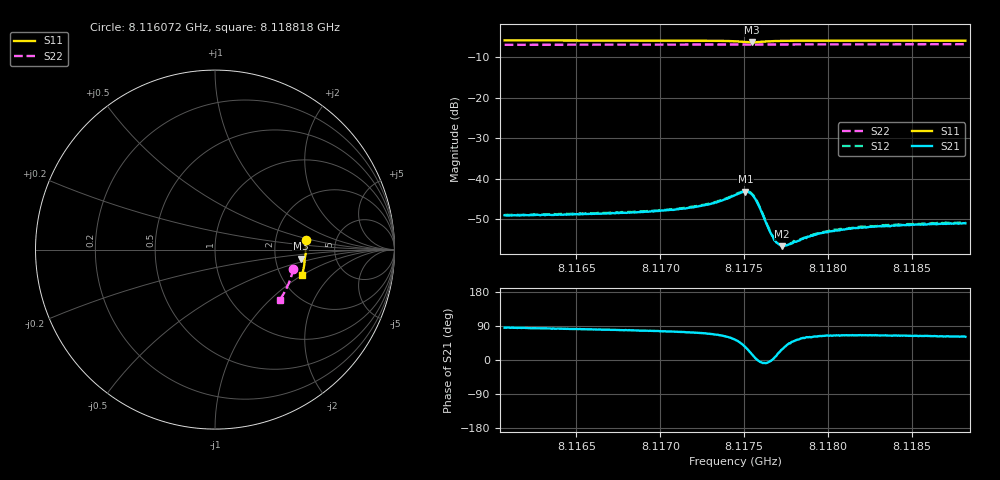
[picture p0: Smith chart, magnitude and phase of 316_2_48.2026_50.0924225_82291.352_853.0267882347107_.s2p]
#  HZ  S  RI  R  50.00
! Rohde & Schwarz Vector Network Analyzer
! Rohde-Schwarz,ZNB20-2Port,1311601062101988,3.16
! Created: UTC 3/20/2024, 11:50:11 AM
! freq[Hz]  re:S11  im:S11  re:S21  im:S21  re:S12  im:S12  re:S22  im:S22
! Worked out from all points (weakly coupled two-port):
!   401 points, 8.116072 GHz to 8.118818 GHz, reference 50 ohm
!   highest |S21| = -43.18 dB at 8.117507 GHz (marker M1); lowest = -56.7 dB at 8.117726 GHz (marker M2)
!   lowest |S11| = -6.4 dB at 8.117548 GHz (marker M3), VSWR 2.85, Z = 140 - j18.6 ohm
!   |S11| at or under -10 dB: nowhere
!   |S22| runs from -7.0 to -6.8 dB; largest |S21 - S12| = 0.00019
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8.1160719e9  0.5045 0.0528  0.000286 0.00353  0.00035 0.00355  0.4359 -0.1062
8.1165318e9  0.5064 0.0182  0.000562 0.0036  0.000639 0.00366  0.4283 -0.1373
8.1169917e9  0.5054 -0.0174  0.000935 0.00389  0.000992 0.00395  0.4187 -0.1681
8.1171427e9  0.5041 -0.0296  0.00119 0.00412  0.00125 0.00417  0.4152 -0.1776
8.1172731e9  0.502 -0.0412  0.00162 0.00449  0.00168 0.00452  0.4117 -0.1863
8.1173624e9  0.499 -0.0499  0.00226 0.00483  0.00236 0.00486  0.4093 -0.1921
8.1174447e9  0.4922 -0.058  0.00369 0.00506  0.00381 0.00509  0.4067 -0.1972
8.1175065e9  0.4818 -0.0586  0.00574 0.00388  0.00587 0.00395  0.4044 -0.201
8.1175271e9  0.4787 -0.0556  0.00621 0.00282  0.00636 0.00278  0.4038 -0.202
8.1175477e9  0.4779 -0.0511  0.00614 0.00151  0.00625 0.00152  0.4033 -0.2031
8.1175614e9  0.479 -0.0483  0.00576 0.000714  0.0059 0.000651  0.4032 -0.2038
8.117582e9  0.4824 -0.0453  0.00486 -0.000113  0.00496 -0.00015  0.4026 -0.2049
8.1176438e9  0.493 -0.0475  0.00242 -0.000234  0.0025 -0.000255  0.4013 -0.209
8.1176781e9  0.496 -0.0515  0.00174 0.000171  0.00181 0.000174  0.4004 -0.2112
8.1177056e9  0.4974 -0.0548  0.00147 0.000517  0.00151 0.000502  0.3997 -0.2129
8.1177262e9  0.498 -0.0571  0.00129 0.000702  0.00133 0.000702  0.399 -0.2144
8.1177605e9  0.4987 -0.0609  0.00114 0.00102  0.00116 0.00105  0.3978 -0.2166
8.1179046e9  0.4987 -0.0747  0.000961 0.00172  0.000966 0.00176  0.3935 -0.2257
8.1180419e9  0.4972 -0.0861  0.000976 0.00207  0.001 0.00213  0.389 -0.2342
8.1181586e9  0.4957 -0.0955  0.00103 0.00223  0.00108 0.00224  0.385 -0.2414
8.1183645e9  0.4924 -0.1111  0.00112 0.00233  0.00115 0.00239  0.3775 -0.254
8.1188175e9  0.4835 -0.144  0.00135 0.00246  0.00138 0.00251  0.3599 -0.2803
